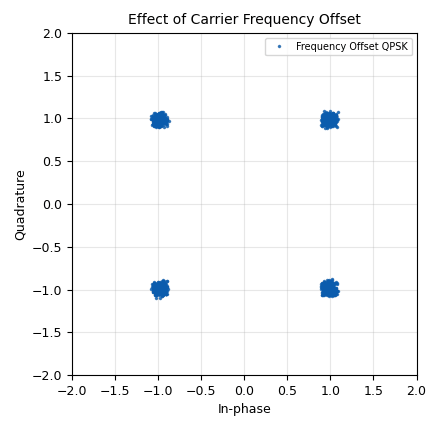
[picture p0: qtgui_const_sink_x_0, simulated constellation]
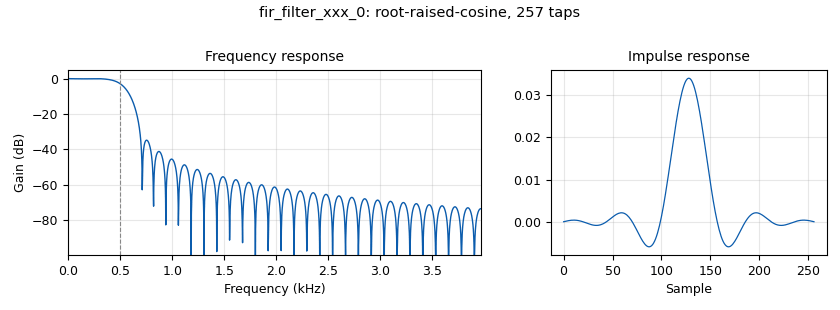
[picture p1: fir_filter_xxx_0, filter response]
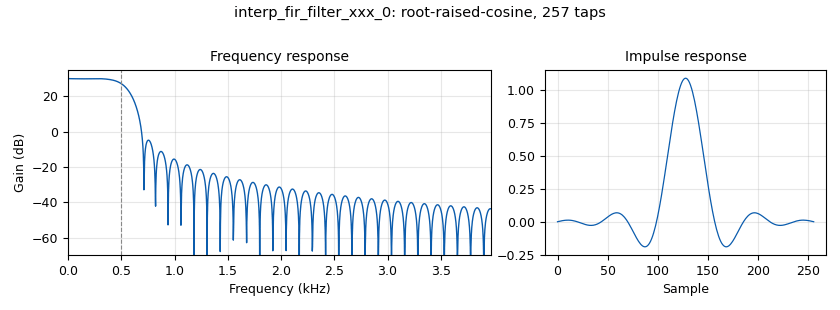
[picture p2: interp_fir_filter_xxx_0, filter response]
options:
  parameters:
    generate_options: qt_gui
    id: exp9
    output_language: python
    title: Effect of Carrier Frequency Offset
  states: {}

blocks:
- name: alpha
  id: variable
  parameters:
    value: '0.35'
  states: {}
- name: carrier_freq
  id: variable
  parameters:
    value: '1000'
  states: {}
- name: freq_offset
  id: variable_qtgui_range
  parameters:
    label: Carrier Frequency Offset (Hz)
    start: '-20'
    step: '5'
    stop: '20'
    value: '0'
  states: {}
- name: ntaps
  id: variable
  parameters:
    value: span * sps + 1
  states: {}
- name: samp_rate
  id: variable
  parameters:
    value: '32000'
  states: {}
- name: span
  id: variable
  parameters:
    value: '8'
  states: {}
- name: sps
  id: variable
  parameters:
    value: int(samp_rate / symbol_rate)
  states: {}
- name: symbol_rate
  id: variable
  parameters:
    value: '1000'
  states: {}
- name: analog_random_source_x_0
  id: analog_random_source_x
  parameters:
    max: '2'
    min: '0'
    num_samps: '1000'
    repeat: 'True'
    type: byte
  states: {}
- name: analog_random_source_x_0_0
  id: analog_random_source_x
  parameters:
    max: '2'
    min: '0'
    num_samps: '1000'
    repeat: 'True'
    type: byte
  states: {}
- name: analog_sig_source_x_0
  id: analog_sig_source_x
  parameters:
    amp: '1'
    freq: freq_offset
    offset: '0'
    phase: '0'
    samp_rate: samp_rate
    type: complex
    waveform: analog.GR_COS_WAVE
  states: {}
- name: blocks_float_to_complex_0
  id: blocks_float_to_complex
  parameters: {}
  states: {}
- name: blocks_keep_one_in_n_0
  id: blocks_keep_one_in_n
  parameters:
    n: sps
    type: complex
  states: {}
- name: blocks_multiply_xx_0
  id: blocks_multiply_xx
  parameters:
    type: complex
  states: {}
- name: blocks_throttle2_0
  id: blocks_throttle2
  parameters:
    samples_per_second: samp_rate
    type: complex
  states: {}
- name: digital_chunks_to_symbols_xx_0
  id: digital_chunks_to_symbols_xx
  parameters:
    dimension: '1'
    in_type: byte
    out_type: float
    symbol_table: '[-1,1]'
  states: {}
- name: digital_chunks_to_symbols_xx_0_0
  id: digital_chunks_to_symbols_xx
  parameters:
    dimension: '1'
    in_type: byte
    out_type: float
    symbol_table: '[-1,1]'
  states: {}
- name: fir_filter_xxx_0
  id: fir_filter_xxx
  parameters:
    decim: '1'
    taps: firdes.root_raised_cosine(1, samp_rate, symbol_rate, alpha, ntaps)
    type: ccf
  states: {}
- name: import_0
  id: import
  parameters:
    imports: import math
  states: {}
- name: interp_fir_filter_xxx_0
  id: interp_fir_filter_xxx
  parameters:
    interp: sps
    taps: firdes.root_raised_cosine(sps, samp_rate, symbol_rate, alpha, ntaps)
    type: ccf
  states: {}
- name: qtgui_const_sink_x_0
  id: qtgui_const_sink_x
  parameters:
    grid: 'True'
    label1: Frequency Offset QPSK
    name: Effect of Carrier Frequency Offset
    size: '1024'
    type: complex
  states: {}

connections:
- [analog_random_source_x_0, '0', digital_chunks_to_symbols_xx_0, '0']
- [analog_random_source_x_0_0, '0', digital_chunks_to_symbols_xx_0_0, '0']
- [analog_sig_source_x_0, '0', blocks_multiply_xx_0, '1']
- [blocks_float_to_complex_0, '0', interp_fir_filter_xxx_0, '0']
- [blocks_keep_one_in_n_0, '0', qtgui_const_sink_x_0, '0']
- [blocks_multiply_xx_0, '0', fir_filter_xxx_0, '0']
- [blocks_throttle2_0, '0', blocks_multiply_xx_0, '0']
- [digital_chunks_to_symbols_xx_0, '0', blocks_float_to_complex_0, '0']
- [digital_chunks_to_symbols_xx_0_0, '0', blocks_float_to_complex_0, '1']
- [fir_filter_xxx_0, '0', blocks_keep_one_in_n_0, '0']
- [interp_fir_filter_xxx_0, '0', blocks_throttle2_0, '0']

metadata:
  file_format: 1
  grc_version: 3.10.12.0
